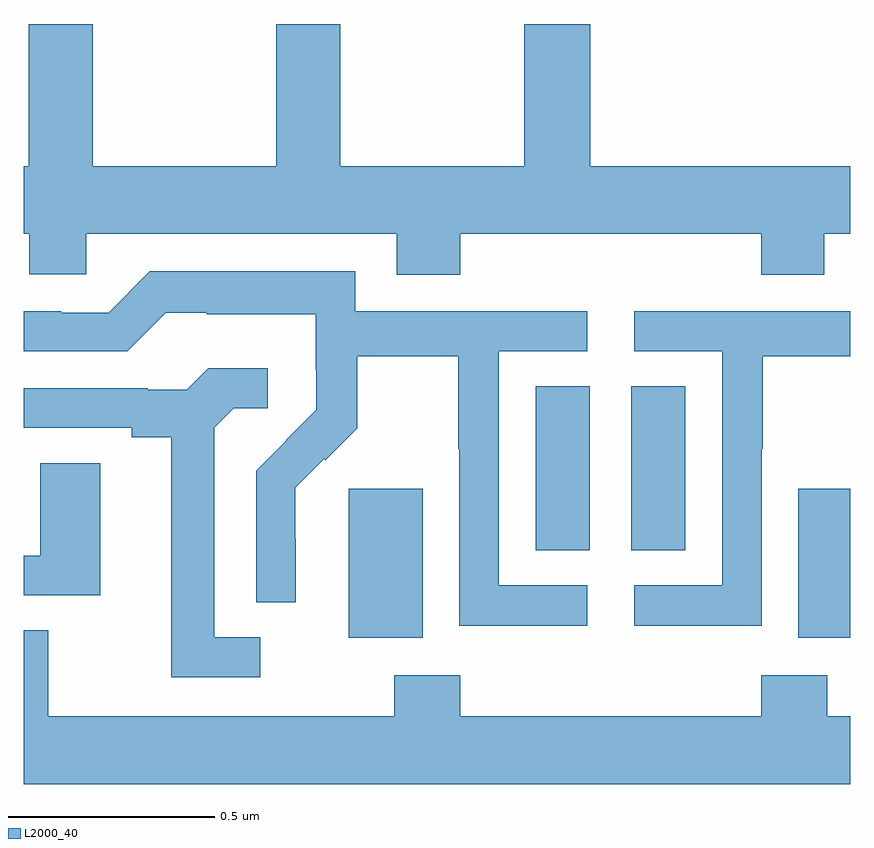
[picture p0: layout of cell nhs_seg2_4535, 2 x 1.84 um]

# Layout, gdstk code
import gdstk
lib = gdstk.Library(unit=1e-6, precision=1e-09)
def R(c, l, rs):  # rectangles x0, y0, x1, y1
    for r in rs: c.add(gdstk.rectangle(r[:2], r[2:], *l))
def P(c, l, *ps):  # polygons
    for p in ps: c.add(gdstk.Polygon(p, *l))
L2000_40 = (2000, 40)

nhs_seg2_4535 = lib.new_cell('nhs_seg2_4535')
R(nhs_seg2_4535, L2000_40, [(167.786,657.314,167.965,657.675), (168.875,657.314,169,657.675), (168.239,657.526,168.37,657.923), (168.47,657.526,168.601,657.923)])
P(nhs_seg2_4535, L2000_40, [(168.056,658.292),(168.785,658.292),(168.785,658.193),(168.937,658.193),(168.937,658.292),(169,658.292),(169,658.456),(168.371,658.456),(168.371,658.8),(168.211,658.8),(168.211,658.456),(167.766,658.456),(167.766,658.8),(167.611,658.8),(167.611,658.456),(167.166,658.456),(167.166,658.8),(167.011,658.8),(167.011,658.456),(167,658.456),(167,658.292),(167.013,658.292),(167.013,658.194),(167.151,658.194),(167.151,658.292),(167.903,658.292),(167.903,658.193),(168.056,658.193)],
  [(168.364,657.441),(168.15,657.441),(168.15,658.008),(168.364,658.008),(168.364,658.104),(167.802,658.104),(167.802,658.201),(167.305,658.201),(167.205,658.101),(167.09,658.101),(167.09,658.104),(167,658.104),(167,658.008),(167.25,658.008),(167.343,658.101),(167.443,658.101),(167.443,658.097),(167.706,658.097),(167.706,657.963),(167.708,657.963),(167.708,657.866),(167.634,657.792),(167.635,657.791),(167.562,657.718),(167.562,657.4),(167.658,657.4),(167.658,657.554),(167.657,657.554),(167.657,657.677),(167.727,657.747),(167.73,657.744),(167.807,657.821),(167.807,657.996),(168.052,657.996),(168.052,657.772),(168.054,657.772),(168.054,657.343),(168.364,657.343)],
  [(168.786,657.772),(168.789,657.772),(168.789,657.996),(169,657.996),(169,658.104),(168.477,658.104),(168.477,658.008),(168.69,658.008),(168.69,657.441),(168.477,657.441),(168.477,657.343),(168.786,657.343)],
  [(167.572,657.315),(167.461,657.315),(167.461,657.823),(167.508,657.87),(167.59,657.87),(167.59,657.967),(167.446,657.967),(167.394,657.915),(167.3,657.915),(167.3,657.918),(167,657.918),(167,657.822),(167.261,657.822),(167.261,657.8),(167.357,657.8),(167.357,657.219),(167.572,657.219)],
  [(167.185,657.737),(167.04,657.737),(167.04,657.513),(167,657.513),(167,657.417),(167.185,657.417)],
  [(169,657.124),(168.945,657.124),(168.945,657.223),(168.785,657.223),(168.785,657.124),(168.056,657.124),(168.056,657.223),(167.896,657.223),(167.896,657.124),(167.059,657.124),(167.059,657.332),(167,657.332),(167,656.96),(169,656.96)])

lib.write_gds('nhs_seg2_4535.gds')
